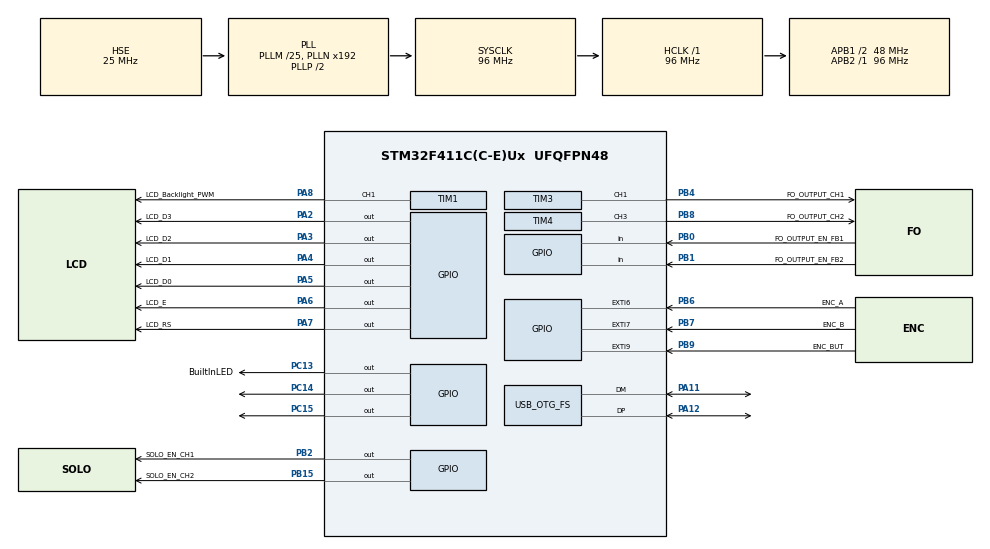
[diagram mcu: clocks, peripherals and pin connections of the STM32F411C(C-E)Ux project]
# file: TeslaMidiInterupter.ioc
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Mcu.Family=STM32F4
Mcu.Name=STM32F411C(C-E)Ux
Mcu.Package=UFQFPN48
NVIC.EXTI9_5_IRQn=true\:14\:0\:true\:false\:true\:true\:true\:true
NVIC.OTG_FS_IRQn=true\:0\:0\:false\:false\:true\:false\:true\:true
NVIC.PriorityGroup=NVIC_PRIORITYGROUP_4
NVIC.TIM1_BRK_TIM9_IRQn=true\:5\:0\:true\:false\:true\:true\:true\:true
NVIC.TIM1_TRG_COM_TIM11_IRQn=true\:5\:0\:true\:false\:true\:true\:true\:true
NVIC.TIM1_UP_TIM10_IRQn=true\:5\:0\:true\:false\:true\:true\:true\:true
NVIC.TIM2_IRQn=true\:5\:0\:true\:false\:true\:true\:true\:true
NVIC.TIM3_IRQn=true\:0\:0\:true\:false\:true\:true\:true\:true
NVIC.TIM4_IRQn=true\:0\:0\:true\:false\:true\:true\:true\:true
NVIC.TIM5_IRQn=true\:0\:0\:false\:false\:true\:true\:true\:true
PA11.Mode=Device_Only
PA11.Signal=USB_OTG_FS_DM
PA12.Mode=Device_Only
PA12.Signal=USB_OTG_FS_DP
PA2.GPIO_Label=LCD_D3
PA2.PinState=GPIO_PIN_SET
PA2.Signal=GPIO_Output
PA3.GPIO_Label=LCD_D2
PA3.PinState=GPIO_PIN_SET
PA3.Signal=GPIO_Output
PA4.GPIO_Label=LCD_D1
PA4.PinState=GPIO_PIN_SET
PA4.Signal=GPIO_Output
PA5.GPIO_Label=LCD_D0
PA5.PinState=GPIO_PIN_SET
PA5.Signal=GPIO_Output
PA6.GPIO_Label=LCD_E
PA6.PinState=GPIO_PIN_SET
PA6.Signal=GPIO_Output
PA7.GPIO_Label=LCD_RS
PA7.PinState=GPIO_PIN_SET
PA7.Signal=GPIO_Output
PA8.GPIO_Label=LCD_Backlight_PWM
PA8.GPIO_Speed=GPIO_SPEED_FREQ_VERY_HIGH
PA8.Signal=S_TIM1_CH1
PB0.GPIO_Label=FO_OUTPUT_EN_FB1
PB0.GPIO_PuPd=GPIO_PULLUP
PB0.Signal=GPIO_Input
PB1.GPIO_Label=FO_OUTPUT_EN_FB2
PB1.Signal=GPIO_Input
PB15.GPIO_Label=SOLO_EN_CH2
PB15.GPIO_PuPd=GPIO_PULLDOWN
PB15.Signal=GPIO_Output
PB2.GPIO_Label=SOLO_EN_CH1
PB2.GPIO_PuPd=GPIO_PULLDOWN
PB2.Signal=GPIO_Output
PB4.GPIO_Label=FO_OUTPUT_CH1
PB4.GPIO_PuPd=GPIO_PULLDOWN
PB4.GPIO_Speed=GPIO_SPEED_FREQ_VERY_HIGH
PB4.Signal=S_TIM3_CH1
PB6.GPIO_Label=ENC_A
PB6.GPIO_ModeDefaultEXTI=GPIO_MODE_IT_RISING_FALLING
PB6.GPIO_PuPd=GPIO_PULLUP
PB6.Signal=GPXTI6
PB7.GPIO_Label=ENC_B
PB7.GPIO_ModeDefaultEXTI=GPIO_MODE_IT_RISING_FALLING
PB7.GPIO_PuPd=GPIO_PULLUP
PB7.Signal=GPXTI7
PB8.GPIO_Label=FO_OUTPUT_CH2
PB8.GPIO_PuPd=GPIO_PULLDOWN
PB8.GPIO_Speed=GPIO_SPEED_FREQ_VERY_HIGH
PB8.Signal=S_TIM4_CH3
PB9.GPIO_Label=ENC_BUT
PB9.GPIO_ModeDefaultEXTI=GPIO_MODE_IT_RISING_FALLING
PB9.GPIO_PuPd=GPIO_PULLUP
PB9.Signal=GPXTI9
PC13-ANTI_TAMP.GPIO_Label=BuiltInLED
PC13-ANTI_TAMP.GPIO_Speed=GPIO_SPEED_FREQ_LOW
PC13-ANTI_TAMP.Signal=GPIO_Output
PC14-OSC32_IN.GPIO_PuPd=GPIO_PULLDOWN
PC14-OSC32_IN.Signal=GPIO_Output
PC15-OSC32_OUT.GPIO_ModeDefaultOutputPP=GPIO_MODE_OUTPUT_PP
PC15-OSC32_OUT.GPIO_PuPd=GPIO_PULLDOWN
PC15-OSC32_OUT.PinState=GPIO_PIN_RESET
PC15-OSC32_OUT.Signal=GPIO_Output
PH0\ -\ OSC_IN.Mode=HSE-External-Oscillator
PH0\ -\ OSC_IN.Signal=RCC_OSC_IN
PH1\ -\ OSC_OUT.Mode=HSE-External-Oscillator
PH1\ -\ OSC_OUT.Signal=RCC_OSC_OUT
ProjectManager.HeapSize=0x200
ProjectManager.StackSize=0x400
ProjectManager.TargetToolchain=STM32CubeIDE
RCC.48MHZClocksFreq_Value=48000000
RCC.AHBFreq_Value=96000000
RCC.APB1CLKDivider=RCC_HCLK_DIV2
RCC.APB1Freq_Value=48000000
RCC.APB1TimFreq_Value=96000000
RCC.APB2Freq_Value=96000000
RCC.APB2TimFreq_Value=96000000
RCC.CortexFreq_Value=96000000
RCC.HCLKFreq_Value=96000000
RCC.HSE_VALUE=25000000
RCC.HSI_VALUE=16000000
RCC.LSE_VALUE=32768
RCC.PLLM=25
RCC.SYSCLKFreq_VALUE=96000000
RCC.SYSCLKSource=RCC_SYSCLKSOURCE_PLLCLK
RCC.VCOOutputFreq_Value=192000000
SH.S_TIM1_CH1.0=TIM1_CH1,PWM Generation1 CH1
SH.S_TIM3_CH1.0=TIM3_CH1,PWM Generation1 CH1
SH.S_TIM4_CH3.0=TIM4_CH3,PWM Generation3 CH3
TIM1.AutoReloadPreload=TIM_AUTORELOAD_PRELOAD_ENABLE
TIM1.Channel-PWM\ Generation1\ CH1=TIM_CHANNEL_1
TIM1.OCFastMode_PWM-PWM\ Generation1\ CH1=TIM_OCFAST_ENABLE
TIM1.Period=65000
TIM1.Pulse-PWM\ Generation1\ CH1=50000
TIM10.AutoReloadPreload=TIM_AUTORELOAD_PRELOAD_DISABLE
TIM10.Channel=TIM_CHANNEL_1
TIM10.Prescaler=15
TIM11.Channel=TIM_CHANNEL_1
TIM11.Prescaler=15
TIM2.AutoReloadPreload=TIM_AUTORELOAD_PRELOAD_ENABLE
TIM2.Channel-PWM\ Generation1\ No\ Output=TIM_CHANNEL_1
TIM2.CounterMode=TIM_COUNTERMODE_UP
TIM2.Period=1000000
TIM2.Prescaler=0
TIM2.TIM_MasterOutputTrigger=TIM_TRGO_RESET
TIM3.AutoReloadPreload=TIM_AUTORELOAD_PRELOAD_ENABLE
TIM3.Channel-PWM\ Generation1\ CH1=TIM_CHANNEL_1
TIM3.CounterMode=TIM_COUNTERMODE_DOWN
TIM3.OCFastMode_PWM-PWM\ Generation1\ CH1=TIM_OCFAST_ENABLE
TIM3.Period=20000
TIM3.Prescaler=1
TIM4.AutoReloadPreload=TIM_AUTORELOAD_PRELOAD_ENABLE
TIM4.Channel-PWM\ Generation3\ CH3=TIM_CHANNEL_3
TIM4.CounterMode=TIM_COUNTERMODE_DOWN
TIM4.OCFastMode_PWM-PWM\ Generation3\ CH3=TIM_OCFAST_ENABLE
TIM4.Period=20000
TIM4.Prescaler=1
TIM5.AutoReloadPreload=TIM_AUTORELOAD_PRELOAD_ENABLE
TIM5.Channel-PWM\ Generation1\ No\ Output=TIM_CHANNEL_1
TIM5.Period=1000000
TIM9.Prescaler=512
USB_DEVICE.CLASS_NAME_FS=CDC
USB_DEVICE.VirtualMode=Cdc
USB_DEVICE.VirtualModeFS=Cdc_FS
USB_OTG_FS.VirtualMode=Device_Only
VP_TIM10_VS_ClockSourceINT.Mode=Enable_Timer
VP_TIM10_VS_no_output1.Mode=Output Compare1 No Output
VP_TIM11_VS_ClockSourceINT.Mode=Enable_Timer
VP_TIM11_VS_no_output1.Mode=Output Compare1 No Output
VP_TIM1_VS_ClockSourceINT.Mode=Internal
VP_TIM2_VS_ClockSourceINT.Mode=Internal
VP_TIM2_VS_no_output1.Mode=PWM Generation1 No Output
VP_TIM3_VS_ClockSourceINT.Mode=Internal
VP_TIM3_VS_OPM.Mode=OPM_bit
VP_TIM4_VS_ClockSourceINT.Mode=Internal
VP_TIM4_VS_OPM.Mode=OPM_bit
VP_TIM5_VS_ClockSourceINT.Mode=Internal
VP_TIM5_VS_no_output1.Mode=PWM Generation1 No Output
VP_TIM9_VS_ClockSourceINT.Mode=Internal
VP_USB_DEVICE_VS_USB_DEVICE_CDC_FS.Mode=CDC_FS
board=custom

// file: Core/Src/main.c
/* USER CODE BEGIN Header */
/**
  ******************************************************************************
  * @file           : main.c
  * @brief          : Main program body
  ******************************************************************************
  * @attention
  *
  * Copyright (c) 2023 Jarren Lange
  * All rights reserved.
  *
  * This software is licensed under terms that can be found in the Github repository
  *
  ******************************************************************************
  ******************************************************************************
  ******************************************************************************
	Function Description:
	Following a valid MIDI command from the USB/serial port or a constant frequency
	We get the frequency and velocity (volume) from the MIDI command.
	We set the one frequency of a tone generating timer to this frequency.
	On one of these tone generating timers being triggered, we call the firing command.
	The firing command uses a timer to generate a period with a variable on and off command.
	During firing the timer cannot be reset.

	After the defined on and off time of the firing timer, we wait for the next frequency trigger.

	For Musical Channel 1 (so Tesla coil 1):
		TIM3 	- 	Firing Channel
		TIM2 	- 	Frequency CH1A
		TIM10 	- 	Frequency CH1B

	For Musical Channel 2 (So Tesla coil 2):
		TIM4	- 	Firing Channel (CH3)
		TIM5	-	Frequency CH2A
		TIM11	-	Frequency CH2B

	Timer 1 constantly runs in the background to provide a timeout reference point
  ******************************************************************************
  */
/* USER CODE END Header */
#include "main.h"
#include "usb_device.h"

TIM_HandleTypeDef htim1;
TIM_HandleTypeDef htim2;
TIM_HandleTypeDef htim3;
TIM_HandleTypeDef htim4;
TIM_HandleTypeDef htim5;
TIM_HandleTypeDef htim9;
TIM_HandleTypeDef htim10;
TIM_HandleTypeDef htim11;

/* USER CODE BEGIN PV */

uint8_t encoderPrev;
uint8_t encPos;
int8_t encDir;

uint64_t lastEncTime;
uint64_t lastButTime;
uint64_t lastDoubleTime;
uint64_t lastDispTime;
uint64_t lastDispResTime;

//Timeouts for the MIDI processes, to timeout a MIDI tone
//Because sometimes the Micro misses a MIDI command to turn off

extern uint64_t lastCHA1Time;
extern uint64_t lastCHA2Time;
extern uint64_t lastCHB1Time;
extern uint64_t lastCHB2Time;
extern uint8_t dwell_block_CHA;
extern uint8_t dwell_block_CHB;

struct Lcd_HandleTypeDef lcd;
/* USER CODE END PV */

void SystemClock_Config(void);
static void MX_GPIO_Init(void);
static void MX_TIM2_Init(void);
static void MX_TIM3_Init(void);
static void MX_TIM4_Init(void);
static void MX_TIM5_Init(void);
static void MX_TIM9_Init(void);
static void MX_TIM10_Init(void);
static void MX_TIM11_Init(void);
static void MX_TIM1_Init(void);

int main(void)
{

  /* MCU Configuration--------------------------------------------------------*/

  /* Reset of all peripherals, Initializes the Flash interface and the Systick. */
  HAL_Init();

  /* Configure the system clock */
  SystemClock_Config();

  /* Initialize all configured peripherals */
  MX_GPIO_Init();
  MX_USB_DEVICE_Init();
  MX_TIM2_Init();
  MX_TIM3_Init();
  MX_TIM4_Init();
  MX_TIM5_Init();
  MX_TIM9_Init();
  MX_TIM10_Init();
  MX_TIM11_Init();
  MX_TIM1_Init();
  /* USER CODE BEGIN 2 */

  HAL_TIM_Base_Start_IT(&htim1);
  HAL_TIM_Base_Start_IT(&htim2);
  HAL_TIM_Base_Start_IT(&htim3);
  HAL_TIM_Base_Start_IT(&htim4);
  HAL_TIM_Base_Start_IT(&htim5);
  //HAL_TIM_Base_Start_IT(&htim9);
  HAL_TIM_Base_Start_IT(&htim10);
  //HAL_TIM_Base_Start_IT(&htim11);

  HAL_TIM_PWM_Start_IT(&htim1, TIM_CHANNEL_1);

  Lcd_PortType ports[] = {
		  LCD_D0_GPIO_Port, LCD_D1_GPIO_Port, LCD_D2_GPIO_Port, LCD_D3_GPIO_Port
  };

  Lcd_PinType pins[] = {LCD_D0_Pin, LCD_D1_Pin, LCD_D2_Pin, LCD_D3_Pin};

  lcd = Lcd_create(ports, pins, LCD_RS_GPIO_Port, LCD_RS_Pin, LCD_E_GPIO_Port, LCD_E_Pin, LCD_4_BIT_MODE);

  Lcd_cursor(&lcd, 0,0);
  Lcd_string(&lcd, "Tesla FibreOptic");
  Lcd_cursor(&lcd, 1,0);
  Lcd_string(&lcd, "Dual Tesla Control");
  Lcd_cursor(&lcd, 0,16);
  Lcd_string(&lcd, "V1.1");
  Lcd_cursor(&lcd, 1,16);
  Lcd_string(&lcd, "Dr. Jarren Lange");
  DELAY(1000);

  Lcd_cursor(&lcd, 1,2);

	initMenu();
	updateHardware();

	defineFiringActiveFBPins(FO_OUTPUT_EN_FB1_GPIO_Port, FO_OUTPUT_EN_FB1_Pin, FO_OUTPUT_EN_FB2_GPIO_Port,FO_OUTPUT_EN_FB2_Pin);
	defineSoloEnablePins(SOLO_EN_CH1_GPIO_Port, SOLO_EN_CH1_Pin, SOLO_EN_CH2_GPIO_Port, SOLO_EN_CH2_Pin);

	initMIDI();
	registerMidiChannels(&FO_CHA_Params.midiCh1,&FO_CHA_Params.midiCh2,&FO_CHB_Params.midiCh1,&FO_CHB_Params.midiCh2);
	registerMIDIEnable(&currentMenuNO);//Since Fixed menu i zero, we can use this as a hack for the enable
  /* USER CODE END 2 */

  /* Infinite loop */
  /* USER CODE BEGIN WHILE */
  printf("Started\n");
  while (1)
  {
	  //Update the display every 200ms.
	  if((lastDispTime+200)<tim1_count)
	  {
		  updateDisplay();
		  lastDispTime =tim1_count;
	  }
	  //Reset the display every 4000ms.
	  //This is to counteract the occasional misoperation of the LCD, assumedly due to EMI (no idea on the source)
	  if((lastDispResTime+4000)<tim1_count)
	  {
		  lcd = Lcd_create(ports, pins, LCD_RS_GPIO_Port, LCD_RS_Pin, LCD_E_GPIO_Port, LCD_E_Pin, LCD_4_BIT_MODE);
		  lastDispResTime =tim1_count;
		  updateHardware();
	  }
	  //Check the timeouts if we are operating in MIDI mode.
	  if(currentMenuNO!=FIXED_F_MENU_NO)
	  {
		  //When in midi, it can happen that a tone kill signal is missed.
		  //For that reason we check the timeouts to stop a tone after a fixed time period.

		  checkChannelTimeouts();
	  }
    /* USER CODE END WHILE */

  }
}

void SystemClock_Config(void)
{
  RCC_OscInitTypeDef RCC_OscInitStruct = {0};
  RCC_ClkInitTypeDef RCC_ClkInitStruct = {0};

  /** Configure the main internal regulator output voltage
  */
  __HAL_RCC_PWR_CLK_ENABLE();
  __HAL_PWR_VOLTAGESCALING_CONFIG(PWR_REGULATOR_VOLTAGE_SCALE1);

  /** Initializes the RCC Oscillators according to the specified parameters
  * in the RCC_OscInitTypeDef structure.
  */
  RCC_OscInitStruct.OscillatorType = RCC_OSCILLATORTYPE_HSE;
  RCC_OscInitStruct.HSEState = RCC_HSE_ON;
  RCC_OscInitStruct.PLL.PLLState = RCC_PLL_ON;
  RCC_OscInitStruct.PLL.PLLSource = RCC_PLLSOURCE_HSE;
  RCC_OscInitStruct.PLL.PLLM = 25;
  RCC_OscInitStruct.PLL.PLLN = 192;
  RCC_OscInitStruct.PLL.PLLP = RCC_PLLP_DIV2;
  RCC_OscInitStruct.PLL.PLLQ = 4;
  if (HAL_RCC_OscConfig(&RCC_OscInitStruct) != HAL_OK)
  {
    Error_Handler();
  }

  /** Initializes the CPU, AHB and APB buses clocks
  */
  RCC_ClkInitStruct.ClockType = RCC_CLOCKTYPE_HCLK|RCC_CLOCKTYPE_SYSCLK
                              |RCC_CLOCKTYPE_PCLK1|RCC_CLOCKTYPE_PCLK2;
  RCC_ClkInitStruct.SYSCLKSource = RCC_SYSCLKSOURCE_PLLCLK;
  RCC_ClkInitStruct.AHBCLKDivider = RCC_SYSCLK_DIV1;
  RCC_ClkInitStruct.APB1CLKDivider = RCC_HCLK_DIV2;
  RCC_ClkInitStruct.APB2CLKDivider = RCC_HCLK_DIV1;

  if (HAL_RCC_ClockConfig(&RCC_ClkInitStruct, FLASH_LATENCY_3) != HAL_OK)
  {
    Error_Handler();
  }
}

static void MX_TIM1_Init(void)
{

  TIM_ClockConfigTypeDef sClockSourceConfig = {0};
  TIM_MasterConfigTypeDef sMasterConfig = {0};
  TIM_OC_InitTypeDef sConfigOC = {0};
  TIM_BreakDeadTimeConfigTypeDef sBreakDeadTimeConfig = {0};

  htim1.Instance = TIM1;
  htim1.Init.Prescaler = 0;
  htim1.Init.CounterMode = TIM_COUNTERMODE_UP;
  htim1.Init.Period = 65000;
  htim1.Init.ClockDivision = TIM_CLOCKDIVISION_DIV1;
  htim1.Init.RepetitionCounter = 0;
  htim1.Init.AutoReloadPreload = TIM_AUTORELOAD_PRELOAD_ENABLE;
  if (HAL_TIM_Base_Init(&htim1) != HAL_OK)
  {
    Error_Handler();
  }
  sClockSourceConfig.ClockSource = TIM_CLOCKSOURCE_INTERNAL;
  if (HAL_TIM_ConfigClockSource(&htim1, &sClockSourceConfig) != HAL_OK)
  {
    Error_Handler();
  }
  if (HAL_TIM_PWM_Init(&htim1) != HAL_OK)
  {
    Error_Handler();
  }
  sMasterConfig.MasterOutputTrigger = TIM_TRGO_RESET;
  sMasterConfig.MasterSlaveMode = TIM_MASTERSLAVEMODE_DISABLE;
  if (HAL_TIMEx_MasterConfigSynchronization(&htim1, &sMasterConfig) != HAL_OK)
  {
    Error_Handler();
  }
  sConfigOC.OCMode = TIM_OCMODE_PWM1;
  sConfigOC.Pulse = 50000;
  sConfigOC.OCPolarity = TIM_OCPOLARITY_HIGH;
  sConfigOC.OCNPolarity = TIM_OCNPOLARITY_HIGH;
  sConfigOC.OCFastMode = TIM_OCFAST_ENABLE;
  sConfigOC.OCIdleState = TIM_OCIDLESTATE_RESET;
  sConfigOC.OCNIdleState = TIM_OCNIDLESTATE_RESET;
  if (HAL_TIM_PWM_ConfigChannel(&htim1, &sConfigOC, TIM_CHANNEL_1) != HAL_OK)
  {
    Error_Handler();
  }
  sBreakDeadTimeConfig.OffStateRunMode = TIM_OSSR_DISABLE;
  sBreakDeadTimeConfig.OffStateIDLEMode = TIM_OSSI_DISABLE;
  sBreakDeadTimeConfig.LockLevel = TIM_LOCKLEVEL_OFF;
  sBreakDeadTimeConfig.DeadTime = 0;
  sBreakDeadTimeConfig.BreakState = TIM_BREAK_DISABLE;
  sBreakDeadTimeConfig.BreakPolarity = TIM_BREAKPOLARITY_HIGH;
  sBreakDeadTimeConfig.AutomaticOutput = TIM_AUTOMATICOUTPUT_DISABLE;
  if (HAL_TIMEx_ConfigBreakDeadTime(&htim1, &sBreakDeadTimeConfig) != HAL_OK)
  {
    Error_Handler();
  }
  HAL_TIM_MspPostInit(&htim1);

}

static void MX_TIM2_Init(void)
{

  TIM_ClockConfigTypeDef sClockSourceConfig = {0};
  TIM_MasterConfigTypeDef sMasterConfig = {0};
  TIM_OC_InitTypeDef sConfigOC = {0};

  htim2.Instance = TIM2;
  htim2.Init.Prescaler = 0;
  htim2.Init.CounterMode = TIM_COUNTERMODE_UP;
  htim2.Init.Period = 1000000;
  htim2.Init.ClockDivision = TIM_CLOCKDIVISION_DIV1;
  htim2.Init.AutoReloadPreload = TIM_AUTORELOAD_PRELOAD_ENABLE;
  if (HAL_TIM_Base_Init(&htim2) != HAL_OK)
  {
    Error_Handler();
  }
  sClockSourceConfig.ClockSource = TIM_CLOCKSOURCE_INTERNAL;
  if (HAL_TIM_ConfigClockSource(&htim2, &sClockSourceConfig) != HAL_OK)
  {
    Error_Handler();
  }
  if (HAL_TIM_PWM_Init(&htim2) != HAL_OK)
  {
    Error_Handler();
  }
  sMasterConfig.MasterOutputTrigger = TIM_TRGO_RESET;
  sMasterConfig.MasterSlaveMode = TIM_MASTERSLAVEMODE_DISABLE;
  if (HAL_TIMEx_MasterConfigSynchronization(&htim2, &sMasterConfig) != HAL_OK)
  {
    Error_Handler();
  }
  sConfigOC.OCMode = TIM_OCMODE_PWM1;
  sConfigOC.Pulse = 0;
  sConfigOC.OCPolarity = TIM_OCPOLARITY_HIGH;
  sConfigOC.OCFastMode = TIM_OCFAST_DISABLE;
  if (HAL_TIM_PWM_ConfigChannel(&htim2, &sConfigOC, TIM_CHANNEL_1) != HAL_OK)
  {
    Error_Handler();
  }

}

static void MX_TIM3_Init(void)
{

  TIM_ClockConfigTypeDef sClockSourceConfig = {0};
  TIM_MasterConfigTypeDef sMasterConfig = {0};
  TIM_OC_InitTypeDef sConfigOC = {0};

  htim3.Instance = TIM3;
  htim3.Init.Prescaler = 1;
  htim3.Init.CounterMode = TIM_COUNTERMODE_DOWN;
  htim3.Init.Period = 20000;
  htim3.Init.ClockDivision = TIM_CLOCKDIVISION_DIV1;
  htim3.Init.AutoReloadPreload = TIM_AUTORELOAD_PRELOAD_ENABLE;
  if (HAL_TIM_Base_Init(&htim3) != HAL_OK)
  {
    Error_Handler();
  }
  sClockSourceConfig.ClockSource = TIM_CLOCKSOURCE_INTERNAL;
  if (HAL_TIM_ConfigClockSource(&htim3, &sClockSourceConfig) != HAL_OK)
  {
    Error_Handler();
  }
  if (HAL_TIM_PWM_Init(&htim3) != HAL_OK)
  {
    Error_Handler();
  }
  if (HAL_TIM_OnePulse_Init(&htim3, TIM_OPMODE_SINGLE) != HAL_OK)
  {
    Error_Handler();
  }
  sMasterConfig.MasterOutputTrigger = TIM_TRGO_RESET;
  sMasterConfig.MasterSlaveMode = TIM_MASTERSLAVEMODE_DISABLE;
  if (HAL_TIMEx_MasterConfigSynchronization(&htim3, &sMasterConfig) != HAL_OK)
  {
    Error_Handler();
  }
  sConfigOC.OCMode = TIM_OCMODE_PWM1;
  sConfigOC.Pulse = 0;
  sConfigOC.OCPolarity = TIM_OCPOLARITY_HIGH;
  sConfigOC.OCFastMode = TIM_OCFAST_ENABLE;
  if (HAL_TIM_PWM_ConfigChannel(&htim3, &sConfigOC, TIM_CHANNEL_1) != HAL_OK)
  {
    Error_Handler();
  }
  HAL_TIM_MspPostInit(&htim3);

}

static void MX_TIM4_Init(void)
{

  TIM_ClockConfigTypeDef sClockSourceConfig = {0};
  TIM_MasterConfigTypeDef sMasterConfig = {0};
  TIM_OC_InitTypeDef sConfigOC = {0};

  htim4.Instance = TIM4;
  htim4.Init.Prescaler = 1;
  htim4.Init.CounterMode = TIM_COUNTERMODE_DOWN;
  htim4.Init.Period = 20000;
  htim4.Init.ClockDivision = TIM_CLOCKDIVISION_DIV1;
  htim4.Init.AutoReloadPreload = TIM_AUTORELOAD_PRELOAD_ENABLE;
  if (HAL_TIM_Base_Init(&htim4) != HAL_OK)
  {
    Error_Handler();
  }
  sClockSourceConfig.ClockSource = TIM_CLOCKSOURCE_INTERNAL;
  if (HAL_TIM_ConfigClockSource(&htim4, &sClockSourceConfig) != HAL_OK)
  {
    Error_Handler();
  }
  if (HAL_TIM_PWM_Init(&htim4) != HAL_OK)
  {
    Error_Handler();
  }
  if (HAL_TIM_OnePulse_Init(&htim4, TIM_OPMODE_SINGLE) != HAL_OK)
  {
    Error_Handler();
  }
  sMasterConfig.MasterOutputTrigger = TIM_TRGO_RESET;
  sMasterConfig.MasterSlaveMode = TIM_MASTERSLAVEMODE_DISABLE;
  if (HAL_TIMEx_MasterConfigSynchronization(&htim4, &sMasterConfig) != HAL_OK)
  {
    Error_Handler();
  }
  sConfigOC.OCMode = TIM_OCMODE_PWM1;
  sConfigOC.Pulse = 0;
  sConfigOC.OCPolarity = TIM_OCPOLARITY_HIGH;
  sConfigOC.OCFastMode = TIM_OCFAST_ENABLE;
  if (HAL_TIM_PWM_ConfigChannel(&htim4, &sConfigOC, TIM_CHANNEL_3) != HAL_OK)
  {
    Error_Handler();
  }
  HAL_TIM_MspPostInit(&htim4);

}

static void MX_TIM5_Init(void)
{

  TIM_ClockConfigTypeDef sClockSourceConfig = {0};
  TIM_MasterConfigTypeDef sMasterConfig = {0};
  TIM_OC_InitTypeDef sConfigOC = {0};

  htim5.Instance = TIM5;
  htim5.Init.Prescaler = 0;
  htim5.Init.CounterMode = TIM_COUNTERMODE_UP;
  htim5.Init.Period = 1000000;
  htim5.Init.ClockDivision = TIM_CLOCKDIVISION_DIV1;
  htim5.Init.AutoReloadPreload = TIM_AUTORELOAD_PRELOAD_ENABLE;
  if (HAL_TIM_Base_Init(&htim5) != HAL_OK)
  {
    Error_Handler();
  }
  sClockSourceConfig.ClockSource = TIM_CLOCKSOURCE_INTERNAL;
  if (HAL_TIM_ConfigClockSource(&htim5, &sClockSourceConfig) != HAL_OK)
  {
    Error_Handler();
  }
  if (HAL_TIM_PWM_Init(&htim5) != HAL_OK)
  {
    Error_Handler();
  }
  sMasterConfig.MasterOutputTrigger = TIM_TRGO_RESET;
  sMasterConfig.MasterSlaveMode = TIM_MASTERSLAVEMODE_DISABLE;
  if (HAL_TIMEx_MasterConfigSynchronization(&htim5, &sMasterConfig) != HAL_OK)
  {
    Error_Handler();
  }
  sConfigOC.OCMode = TIM_OCMODE_PWM1;
  sConfigOC.Pulse = 0;
  sConfigOC.OCPolarity = TIM_OCPOLARITY_HIGH;
  sConfigOC.OCFastMode = TIM_OCFAST_DISABLE;
  if (HAL_TIM_PWM_ConfigChannel(&htim5, &sConfigOC, TIM_CHANNEL_1) != HAL_OK)
  {
    Error_Handler();
  }

}

static void MX_TIM9_Init(void)
{

  TIM_ClockConfigTypeDef sClockSourceConfig = {0};

  htim9.Instance = TIM9;
  htim9.Init.Prescaler = 512;
  htim9.Init.CounterMode = TIM_COUNTERMODE_UP;
  htim9.Init.Period = 65535;
  htim9.Init.ClockDivision = TIM_CLOCKDIVISION_DIV1;
  htim9.Init.AutoReloadPreload = TIM_AUTORELOAD_PRELOAD_DISABLE;
  if (HAL_TIM_Base_Init(&htim9) != HAL_OK)
  {
    Error_Handler();
  }
  sClockSourceConfig.ClockSource = TIM_CLOCKSOURCE_INTERNAL;
  if (HAL_TIM_ConfigClockSource(&htim9, &sClockSourceConfig) != HAL_OK)
  {
    Error_Handler();
  }

}

static void MX_TIM10_Init(void)
{

  TIM_OC_InitTypeDef sConfigOC = {0};

  htim10.Instance = TIM10;
  htim10.Init.Prescaler = 15;
  htim10.Init.CounterMode = TIM_COUNTERMODE_UP;
  htim10.Init.Period = 65535;
  htim10.Init.ClockDivision = TIM_CLOCKDIVISION_DIV1;
  htim10.Init.AutoReloadPreload = TIM_AUTORELOAD_PRELOAD_DISABLE;
  if (HAL_TIM_Base_Init(&htim10) != HAL_OK)
  {
    Error_Handler();
  }
  if (HAL_TIM_OC_Init(&htim10) != HAL_OK)
  {
    Error_Handler();
  }
  sConfigOC.OCMode = TIM_OCMODE_TIMING;
  sConfigOC.Pulse = 0;
  sConfigOC.OCPolarity = TIM_OCPOLARITY_HIGH;
  sConfigOC.OCFastMode = TIM_OCFAST_DISABLE;
  if (HAL_TIM_OC_ConfigChannel(&htim10, &sConfigOC, TIM_CHANNEL_1) != HAL_OK)
  {
    Error_Handler();
  }

}

static void MX_TIM11_Init(void)
{

  TIM_OC_InitTypeDef sConfigOC = {0};

  htim11.Instance = TIM11;
  htim11.Init.Prescaler = 15;
  htim11.Init.CounterMode = TIM_COUNTERMODE_UP;
  htim11.Init.Period = 65535;
  htim11.Init.ClockDivision = TIM_CLOCKDIVISION_DIV1;
  htim11.Init.AutoReloadPreload = TIM_AUTORELOAD_PRELOAD_DISABLE;
  if (HAL_TIM_Base_Init(&htim11) != HAL_OK)
  {
    Error_Handler();
  }
  if (HAL_TIM_OC_Init(&htim11) != HAL_OK)
  {
    Error_Handler();
  }
  sConfigOC.OCMode = TIM_OCMODE_TIMING;
  sConfigOC.Pulse = 0;
  sConfigOC.OCPolarity = TIM_OCPOLARITY_HIGH;
  sConfigOC.OCFastMode = TIM_OCFAST_DISABLE;
  if (HAL_TIM_OC_ConfigChannel(&htim11, &sConfigOC, TIM_CHANNEL_1) != HAL_OK)
  {
    Error_Handler();
  }

}

static void MX_GPIO_Init(void)
{
  GPIO_InitTypeDef GPIO_InitStruct = {0};

  /* GPIO Ports Clock Enable */
  __HAL_RCC_GPIOC_CLK_ENABLE();
  __HAL_RCC_GPIOH_CLK_ENABLE();
  __HAL_RCC_GPIOA_CLK_ENABLE();
  __HAL_RCC_GPIOB_CLK_ENABLE();

  /*Configure GPIO pin Output Level */
  HAL_GPIO_WritePin(GPIOC, BuiltInLED_Pin|GPIO_PIN_14|GPIO_PIN_15, GPIO_PIN_RESET);

  /*Configure GPIO pin Output Level */
  HAL_GPIO_WritePin(GPIOA, LCD_D3_Pin|LCD_D2_Pin|LCD_D1_Pin|LCD_D0_Pin
                          |LCD_E_Pin|LCD_RS_Pin, GPIO_PIN_SET);

  /*Configure GPIO pin Output Level */
  HAL_GPIO_WritePin(GPIOB, SOLO_EN_CH1_Pin|SOLO_EN_CH2_Pin, GPIO_PIN_RESET);

  /*Configure GPIO pin : BuiltInLED_Pin */
  GPIO_InitStruct.Pin = BuiltInLED_Pin;
  GPIO_InitStruct.Mode = GPIO_MODE_OUTPUT_PP;
  GPIO_InitStruct.Pull = GPIO_NOPULL;
  GPIO_InitStruct.Speed = GPIO_SPEED_FREQ_LOW;
  HAL_GPIO_Init(BuiltInLED_GPIO_Port, &GPIO_InitStruct);

  /*Configure GPIO pins : PC14 PC15 */
  GPIO_InitStruct.Pin = GPIO_PIN_14|GPIO_PIN_15;
  GPIO_InitStruct.Mode = GPIO_MODE_OUTPUT_PP;
  GPIO_InitStruct.Pull = GPIO_PULLDOWN;
  GPIO_InitStruct.Speed = GPIO_SPEED_FREQ_LOW;
  HAL_GPIO_Init(GPIOC, &GPIO_InitStruct);

  /*Configure GPIO pins : LCD_D3_Pin LCD_D2_Pin LCD_D1_Pin LCD_D0_Pin
                           LCD_E_Pin LCD_RS_Pin */
  GPIO_InitStruct.Pin = LCD_D3_Pin|LCD_D2_Pin|LCD_D1_Pin|LCD_D0_Pin
                          |LCD_E_Pin|LCD_RS_Pin;
  GPIO_InitStruct.Mode = GPIO_MODE_OUTPUT_PP;
  GPIO_InitStruct.Pull = GPIO_NOPULL;
  GPIO_InitStruct.Speed = GPIO_SPEED_FREQ_LOW;
  HAL_GPIO_Init(GPIOA, &GPIO_InitStruct);

  /*Configure GPIO pin : FO_OUTPUT_EN_FB1_Pin */
  GPIO_InitStruct.Pin = FO_OUTPUT_EN_FB1_Pin;
  GPIO_InitStruct.Mode = GPIO_MODE_INPUT;
  GPIO_InitStruct.Pull = GPIO_PULLUP;
  HAL_GPIO_Init(FO_OUTPUT_EN_FB1_GPIO_Port, &GPIO_InitStruct);

  /*Configure GPIO pin : FO_OUTPUT_EN_FB2_Pin */
  GPIO_InitStruct.Pin = FO_OUTPUT_EN_FB2_Pin;
  GPIO_InitStruct.Mode = GPIO_MODE_INPUT;
  GPIO_InitStruct.Pull = GPIO_NOPULL;
  HAL_GPIO_Init(FO_OUTPUT_EN_FB2_GPIO_Port, &GPIO_InitStruct);

  /*Configure GPIO pins : SOLO_EN_CH1_Pin SOLO_EN_CH2_Pin */
  GPIO_InitStruct.Pin = SOLO_EN_CH1_Pin|SOLO_EN_CH2_Pin;
  GPIO_InitStruct.Mode = GPIO_MODE_OUTPUT_PP;
  GPIO_InitStruct.Pull = GPIO_PULLDOWN;
  GPIO_InitStruct.Speed = GPIO_SPEED_FREQ_LOW;
  HAL_GPIO_Init(GPIOB, &GPIO_InitStruct);

  /*Configure GPIO pins : ENC_A_Pin ENC_B_Pin ENC_BUT_Pin */
  GPIO_InitStruct.Pin = ENC_A_Pin|ENC_B_Pin|ENC_BUT_Pin;
  GPIO_InitStruct.Mode = GPIO_MODE_IT_RISING_FALLING;
  GPIO_InitStruct.Pull = GPIO_PULLUP;
  HAL_GPIO_Init(GPIOB, &GPIO_InitStruct);

  /* EXTI interrupt init*/
  HAL_NVIC_SetPriority(EXTI9_5_IRQn, 14, 0);
  HAL_NVIC_EnableIRQ(EXTI9_5_IRQn);

}

/* USER CODE BEGIN 4 */
int _write(int file, char *ptr, int len) {
    CDC_Transmit_FS((uint8_t*) ptr, len);
    return len;
}

//Sometimes you need to forcefully shut down a frequency channel if it hasnt been updated in a while
void checkChannelTimeouts(){

	  if((lastCHA1Time+MIDI_FREQ_TIMEOUT)<tim1_count)
	  {
		  setCHAFreq1(0);
	  }
	  if((lastCHA2Time+MIDI_FREQ_TIMEOUT)<tim1_count)
	  {
		  setCHAFreq2(0);
	  }
	  if((lastCHB1Time+MIDI_FREQ_TIMEOUT)<tim1_count)
	  {
		  setCHBFreq1(0);
	  }
	  if((lastCHB2Time+MIDI_FREQ_TIMEOUT)<tim1_count)
	  {
		  setCHBFreq2(0);
	  }
}

void interuptCHA()
{
	HAL_GPIO_WritePin(CH1_Port, CH1_Pin, 0);
	HAL_TIM_PWM_Stop_IT(&htim3, TIM_CHANNEL_1);
	dwell_block_CHA=CH_FREE;//Allow a firing

}
void interuptCHB()
{
	//HAL_GPIO_WritePin(CH1_Port, CH1_Pin, 0);
	HAL_TIM_PWM_Stop_IT(&htim4, TIM_CHANNEL_3);
	dwell_block_CHB=CH_FREE;//Allow a firing

}
// Callback: timer has rolled over
void HAL_TIM_PeriodElapsedCallback(TIM_HandleTypeDef *htim)
{
	 // Check which  timer triggered this callback
	  if (htim == &htim3 )//TIM3 fires fibre optic 1
	  {
		  HAL_TIM_PWM_Stop_IT(&htim3, TIM_CHANNEL_1);
		  interuptCHA();
	  }
	  if (htim == &htim4 )//TIM4 fires fibre optic 2
	  {
		  HAL_TIM_PWM_Stop_IT(&htim4, TIM_CHANNEL_3);
		  interuptCHB();
	  }
	if (htim == &htim1 )//TIM1 is for the timeouts
		  {
		   tim1_count++;
		  }
	  if (htim == &htim2 )
	  {
		fireCHA(1);
	  }
	  if (htim == &htim5 )
	  {
		  fireCHB(1);
	  }
	  if (htim == &htim10 )
	  {
		  fireCHA(2);
	  }
	  if (htim == &htim11 )
	  {
		  fireCHB(2);
	  }
}
void HAL_GPIO_EXTI_Callback(uint16_t p)
{
	//For check if the interupt were caused by the rotatary encoder.
	if(p== ENC_A_Pin||p==ENC_B_Pin)
	{
		uint8_t temp = ((HAL_GPIO_ReadPin(ENC_A_GPIO_Port,ENC_A_Pin)<<1)&0x2)  | (HAL_GPIO_ReadPin(ENC_B_GPIO_Port,ENC_B_Pin)) ;
		uint8_t diff = (temp^encoderPrev);
		if(temp==0x02||temp==0x01){
			//part turn
			//Define the directions here.
			if((diff&0x2)==0x2){
				encDir=-1;
			}else{
				encDir=1;
			}
		}else{
			//Trying to detect actual changes in encoder position.
			//In our case a full rotation, which would cause 2 interupts in a short period of time
			if((lastEncTime+100)<tim1_count)
			{
				menuEncoderRotate(encDir);
				updateHardware();
				encPos += encDir;
				lastEncTime=tim1_count;
			}
		}

		encoderPrev= temp;
	}
	//Interupt source is the Encoder button.
	if(p==ENC_BUT_Pin)
	{
		//for the riding edge
		if( HAL_GPIO_ReadPin(ENC_BUT_GPIO_Port,ENC_BUT_Pin)==1)
		{
			//If the last button press happened between 100 ms since the last button press
			if((lastButTime+100)<tim1_count&&(lastDoubleTime+500)<tim1_count)//SinglePress
			{
				menuButPush();
			}
			//If the last button press was less than 500ms ago
		}else if((lastButTime+500)>tim1_count) {
				menuButDoublePush();
				lastDoubleTime = tim1_count;
		}

		lastButTime = tim1_count;
	}
}
void shutdownFixedFreq(){
	//When we switch to MIDI we kill all fixed frequency commands.
	setCHAFreq1(0);
	setCHAFreq2(0);
	setCHBFreq1(0);
	setCHBFreq2(0);
}
void updateDisplay()
{
	Lcd_cursor(&lcd, 0,0);
	Lcd_string(&lcd, currentMenuText());
	Lcd_cursor(&lcd, 1,0);
	Lcd_string(&lcd, currentSubMenuText());
	Lcd_cursor(&lcd, 1,13);
	Lcd_int(&lcd, currentMenuParameter());

	//Indicators of Firing
	Lcd_cursor(&lcd, 0,14);
	if(isFiringActiveCHA()){//Zero is active
		Lcd_string(&lcd, "*");
	}else{
		//display an S if solo is enabled
		if(FO_CHA_Params.enSolo)
		{
			Lcd_string(&lcd, "S");
		}else{
			Lcd_string(&lcd, "O");
		}
	}
	if(isFiringActiveCHB()){//Zero is active
		Lcd_string(&lcd, "*");
	}else{		//display an S if solo is enabled
		if(FO_CHB_Params.enSolo)
		{
			Lcd_string(&lcd, "S");
		}else{
			Lcd_string(&lcd, "O");
		}
	}

	updateDisplayFeedback();
	//Position of the cursor to indicate what is being edited.
	//Menu is indicated by the first character, parameter by the last.
	if(subMenuEditParam==1){
		Lcd_cursor(&lcd, 1,15);
	}else{
		Lcd_cursor(&lcd, 1,0);
	}

}

void updateDisplayFeedback()
{
	if(currentMenuNO == 0){
		//Start of the 3rd Line
		Lcd_cursor(&lcd, 0,16);
		Lcd_string(&lcd, "A");
		Lcd_int(&lcd, FO_CHA_Params.FixedFrequency_1);
		Lcd_string(&lcd, "*");
		Lcd_int(&lcd, FO_CHA_Params.FixedFrequency_2);
		Lcd_string(&lcd, "*");
		Lcd_int(&lcd, FO_CHA_Params.onTime);
		Lcd_string(&lcd, "*");
		Lcd_int(&lcd, FO_CHA_Params.dwellTime);
		//Start of the 4rd Line
		Lcd_cursor(&lcd, 1,16);
		Lcd_string(&lcd, "B");
		Lcd_int(&lcd, FO_CHB_Params.FixedFrequency_1);
		Lcd_string(&lcd, "*");
		Lcd_int(&lcd, FO_CHB_Params.FixedFrequency_2);
		Lcd_string(&lcd, "*");
		Lcd_int(&lcd, FO_CHB_Params.onTime);
		Lcd_string(&lcd, "*");
		Lcd_int(&lcd, FO_CHB_Params.dwellTime);
	}else{
		//Start of the 3rd Line
		Lcd_cursor(&lcd, 0,16);
		Lcd_string(&lcd, "A");
		Lcd_int(&lcd, FO_CHA_Params.midiCh1);
		Lcd_string(&lcd, "*");
		Lcd_int(&lcd, FO_CHA_Params.midiCh2);
		Lcd_string(&lcd, "*");
		Lcd_int(&lcd, FO_CHA_Params.onTime);
		Lcd_string(&lcd, "*");
		Lcd_int(&lcd, FO_CHA_Params.dwellTime);
		//Start of the 4rd Line
		Lcd_cursor(&lcd, 1,16);
		Lcd_string(&lcd, "B");
		Lcd_int(&lcd, FO_CHB_Params.midiCh1);
		Lcd_string(&lcd, "*");
		Lcd_int(&lcd, FO_CHB_Params.midiCh2);
		Lcd_string(&lcd, "*");
		Lcd_int(&lcd, FO_CHB_Params.onTime);
		Lcd_string(&lcd, "*");
		Lcd_int(&lcd, FO_CHB_Params.dwellTime);
	}

}
void updateHardware(){
	if(currentMenuNO == FIXED_F_MENU_NO)
	{
		//These Params come from the menu.'
		setCHAFreq1(FO_CHA_Params.FixedFrequency_1);
		setCHAFreq2(FO_CHA_Params.FixedFrequency_2);
		setCHAActivePeriod(FO_CHA_Params.onTime);
		setCHADwellPeriod(FO_CHA_Params.dwellTime);
		setCHASoloEnable(FO_CHA_Params.enSolo);
		//These Params come from the menu.'
		setCHBFreq1(FO_CHB_Params.FixedFrequency_1);
		setCHBFreq2(FO_CHB_Params.FixedFrequency_2);
		setCHBActivePeriod(FO_CHB_Params.onTime);
		//setCHBActivePeriod(40);
		setCHBDwellPeriod(FO_CHB_Params.dwellTime);
		setCHBSoloEnable(FO_CHB_Params.enSolo);
	}else
	{
		//These Params come from the menu.
		setCHAActivePeriod(FO_CHA_Params.onTime);
		setCHADwellPeriod(FO_CHA_Params.dwellTime);
		setCHASoloEnable(FO_CHA_Params.enSolo);

		setCHBActivePeriod(FO_CHB_Params.onTime);
		setCHBDwellPeriod(FO_CHB_Params.dwellTime);
		setCHBSoloEnable(FO_CHB_Params.enSolo);
	}

}
/* USER CODE END 4 */

void Error_Handler(void)
{
  __disable_irq();
  while (1)
  {
  }
}
